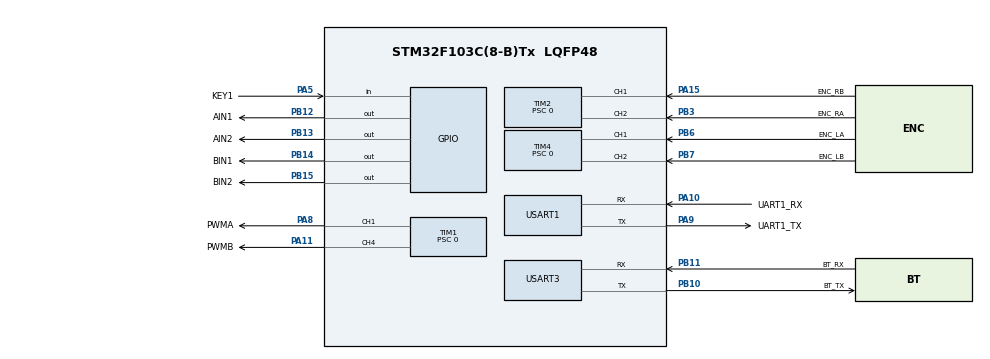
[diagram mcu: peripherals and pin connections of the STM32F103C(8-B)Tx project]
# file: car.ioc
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Mcu.Family=STM32F1
Mcu.Name=STM32F103C(8-B)Tx
Mcu.Package=LQFP48
NVIC.PriorityGroup=NVIC_PRIORITYGROUP_4
PA15.GPIO_Label=ENC_RB
PA15.GPIO_PuPd=GPIO_PULLUP
PA15.Signal=S_TIM2_CH1_ETR
PB3.GPIO_Label=ENC_RA
PB3.GPIO_PuPd=GPIO_PULLUP
PB3.Signal=S_TIM2_CH2
PA10.GPIO_Label=UART1_RX
PA10.GPIO_Mode=GPIO_MODE_AF_PP
PA10.GPIO_PuPd=GPIO_NOPULL
PA10.GPIO_Speed=GPIO_SPEED_FREQ_LOW
PA10.Mode=Asynchronous
PA10.Signal=USART1_RX
PA11.GPIO_Label=PWMB
PA11.GPIO_ModeDefaultPP=GPIO_MODE_AF_PP
PA11.GPIO_PuPd=GPIO_NOPULL
PA11.GPIO_Speed=GPIO_SPEED_FREQ_HIGH
PA11.Signal=S_TIM1_CH4
PA13.Mode=Serial_Wire
PA13.Signal=SYS_JTMS-SWDIO
PA14.Mode=Serial_Wire
PA14.Signal=SYS_JTCK-SWCLK
PA8.GPIO_Label=PWMA
PA8.GPIO_ModeDefaultPP=GPIO_MODE_AF_PP
PA8.GPIO_PuPd=GPIO_NOPULL
PA8.GPIO_Speed=GPIO_SPEED_FREQ_HIGH
PA8.Signal=S_TIM1_CH1
PA9.GPIO_Label=UART1_TX
PA9.GPIO_Mode=GPIO_MODE_AF_PP
PA9.GPIO_PuPd=GPIO_NOPULL
PA9.GPIO_Speed=GPIO_SPEED_FREQ_LOW
PA9.Mode=Asynchronous
PA9.Signal=USART1_TX
PB10.GPIO_Label=BT_TX
PB10.GPIO_Mode=GPIO_MODE_AF_PP
PB10.GPIO_PuPd=GPIO_NOPULL
PB10.GPIO_Speed=GPIO_SPEED_FREQ_LOW
PB10.Mode=Asynchronous
PB10.Signal=USART3_TX
PB11.GPIO_Label=BT_RX
PB11.GPIO_Mode=GPIO_MODE_AF_PP
PB11.GPIO_PuPd=GPIO_NOPULL
PB11.GPIO_Speed=GPIO_SPEED_FREQ_LOW
PB11.Mode=Asynchronous
PB11.Signal=USART3_RX
PB12.GPIO_Label=AIN1
PB12.GPIO_ModeDefaultOutputPP=GPIO_MODE_OUTPUT_PP
PB12.GPIO_PuPd=GPIO_NOPULL
PB12.GPIO_Speed=GPIO_SPEED_FREQ_LOW
PB12.Signal=GPIO_Output
PB13.GPIO_Label=AIN2
PB13.GPIO_ModeDefaultOutputPP=GPIO_MODE_OUTPUT_PP
PB13.GPIO_PuPd=GPIO_NOPULL
PB13.GPIO_Speed=GPIO_SPEED_FREQ_LOW
PB13.Signal=GPIO_Output
PB14.GPIO_Label=BIN1
PB14.GPIO_ModeDefaultOutputPP=GPIO_MODE_OUTPUT_PP
PB14.GPIO_PuPd=GPIO_NOPULL
PB14.GPIO_Speed=GPIO_SPEED_FREQ_LOW
PB14.Signal=GPIO_Output
PB15.GPIO_Label=BIN2
PB15.GPIO_ModeDefaultOutputPP=GPIO_MODE_OUTPUT_PP
PB15.GPIO_PuPd=GPIO_NOPULL
PB15.GPIO_Speed=GPIO_SPEED_FREQ_LOW
PB15.Signal=GPIO_Output
PB6.GPIO_Label=ENC_LA
PB6.GPIO_PuPd=GPIO_PULLUP
PB6.Signal=S_TIM4_CH1
PB7.GPIO_Label=ENC_LB
PB7.GPIO_PuPd=GPIO_PULLUP
PB7.Signal=S_TIM4_CH2
PA5.GPIO_Label=KEY1
PA5.GPIO_PuPd=GPIO_PULLUP
PA5.Signal=GPIO_Input
ProjectManager.HeapSize=0x200
ProjectManager.StackSize=0x400
ProjectManager.TargetToolchain=CMake
RCC.APB1Freq_Value=8000000
RCC.APB2Freq_Value=8000000
SH.S_TIM1_CH1.0=TIM1_CH1,PWM Generation1 CH1
SH.S_TIM1_CH4.0=TIM1_CH4,PWM Generation4 CH4
SH.S_TIM2_CH1_ETR.0=TIM2_CH1,Encoder_Interface
SH.S_TIM2_CH2.0=TIM2_CH2,Encoder_Interface
SH.S_TIM4_CH1.0=TIM4_CH1,Encoder_Interface
SH.S_TIM4_CH2.0=TIM4_CH2,Encoder_Interface
TIM1.Channel-PWM\ Generation1\ CH1=TIM_CHANNEL_1
TIM1.Channel-PWM\ Generation4\ CH4=TIM_CHANNEL_4
TIM1.Period=399
TIM1.Prescaler=0
TIM1.Pulse-PWM\ Generation1\ CH1=0
TIM1.Pulse-PWM\ Generation4\ CH4=0
TIM2.EncoderMode=TIM_ENCODERMODE_TI12
TIM2.IC1Filter=8
TIM2.IC2Filter=8
TIM2.Period=65535
TIM2.Prescaler=0
TIM4.EncoderMode=TIM_ENCODERMODE_TI12
TIM4.IC1Filter=8
TIM4.IC2Filter=8
TIM4.Period=65535
TIM4.Prescaler=0
USART1.VirtualMode=VM_ASYNC
USART3.VirtualMode=VM_ASYNC
VP_TIM1_VS_ClockSourceINT.Mode=Internal
board=custom

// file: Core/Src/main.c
/* USER CODE BEGIN Header */
/**
  ******************************************************************************
  * @file           : main.c
  * @brief          : Main program body
  ******************************************************************************
  * @attention
  *
  * Copyright (c) 2026 STMicroelectronics.
  * All rights reserved.
  *
  * This software is licensed under terms that can be found in the LICENSE file
  * in the root directory of this software component.
  * If no LICENSE file comes with this software, it is provided AS-IS.
  *
  ******************************************************************************
  */
/* USER CODE END Header */
#include "main.h"

/* USER CODE BEGIN Includes */
#include <stdio.h>
#include "motor.h"
#include "encoder_usart.h"
/* USER CODE END Includes */

/* USER CODE BEGIN PD */
/* 按键调速：PA5 输入上拉，按下为低电平，每按一次占空比 +20%，到 100% 后回到 20% */
#define DUTY_STEP_PERCENT   20U
#define DUTY_MIN_PERCENT    20U
#define DUTY_MAX_PERCENT    100U
#define KEY_DEBOUNCE_MS     20U
/* USER CODE END PD */

TIM_HandleTypeDef htim1;
TIM_HandleTypeDef htim2;
TIM_HandleTypeDef htim4;

UART_HandleTypeDef huart1;
UART_HandleTypeDef huart3;

/* USER CODE BEGIN PV */
static uint8_t s_duty_percent = DUTY_MIN_PERCENT;
/* USER CODE END PV */

void SystemClock_Config(void);
static void MX_GPIO_Init(void);
static void MX_TIM1_Init(void);
static void MX_TIM2_Init(void);
static void MX_TIM4_Init(void);
static void MX_USART3_UART_Init(void);
static void MX_USART1_UART_Init(void);

/* USER CODE BEGIN 0 */
/*
 * PA5 按键消抖：返回 1 表示检测到一次新的“按下”（高→低跳变）。
 * 采样粒度由主循环决定（约 1 ms），电平需稳定 KEY_DEBOUNCE_MS 才被承认。
 */
static uint8_t key1_pressed(void)
{
  static uint8_t  s_level = 1U;      /* 消抖后的稳定电平：1 = 松开，0 = 按下 */
  static uint8_t  s_level_last = 1U; /* 上一次采样的原始电平 */
  static uint8_t  s_started = 0U;
  static uint32_t s_change_ms = 0U;

  uint32_t now = HAL_GetTick();
  uint8_t  level = (HAL_GPIO_ReadPin(KEY1_GPIO_Port, KEY1_Pin) == GPIO_PIN_RESET) ? 0U : 1U;

  if (s_started == 0U)
  {
    /* 第一次调用以当前电平为基准，避免上电时按键被按住就多加一档 */
    s_started = 1U;
    s_level = level;
    s_level_last = level;
    s_change_ms = now;
    return 0U;
  }

  if (level != s_level_last)
  {
    s_level_last = level;
    s_change_ms = now;
  }

  if (((uint32_t)(now - s_change_ms) >= KEY_DEBOUNCE_MS) && (level != s_level))
  {
    s_level = level;
    if (s_level == 0U)
    {
      return 1U;
    }
  }

  return 0U;
}

/* 占空比变化时镜像发到 USART1 / USART3，方便上板确认按键真的按到了 */
static void report_duty(uint8_t percent)
{
  char buf[40];
  int  len;

  len = snprintf(buf, sizeof(buf), "KEY: duty -> %u%%\r\n", (unsigned)percent);
  if (len <= 0)
  {
    return;
  }
  if (len >= (int)sizeof(buf))
  {
    len = (int)sizeof(buf) - 1;
  }

  HAL_UART_Transmit(&huart1, (uint8_t *)buf, (uint16_t)len, 100U);
  HAL_UART_Transmit(&huart3, (uint8_t *)buf, (uint16_t)len, 100U);
}
/* USER CODE END 0 */

int main(void)
{

  /* MCU Configuration--------------------------------------------------------*/

  /* Reset of all peripherals, Initializes the Flash interface and the Systick. */
  HAL_Init();

  /* Configure the system clock */
  SystemClock_Config();

  /* Initialize all configured peripherals */
  MX_GPIO_Init();
  MX_TIM1_Init();
  MX_TIM2_Init();
  MX_TIM4_Init();
  MX_USART3_UART_Init();
  MX_USART1_UART_Init();
  /* USER CODE BEGIN 2 */
  Motor *left_motor = Motor_Init(MOTOR_LEFT);
  Motor *right_motor = Motor_Init(MOTOR_RIGHT);

  EncoderUsart_Init(left_motor);
  EncoderUsart_Init(right_motor);

  /* 左右电机一直正转，初始 20%；PA5 每按一次 +20%，到 100% 后回到 20% */
  Motor_SetDirSpeed(left_motor, MOTOR_DIR_FORWARD, DUTY_MIN_PERCENT);
  Motor_SetDirSpeed(right_motor, MOTOR_DIR_FORWARD, DUTY_MIN_PERCENT);
  /* USER CODE END 2 */

  /* Infinite loop */
  while (1)
  {

    /* USER CODE BEGIN 3 */
    if (key1_pressed() != 0U)
    {
      if ((uint16_t)s_duty_percent + DUTY_STEP_PERCENT > DUTY_MAX_PERCENT)
      {
        s_duty_percent = DUTY_MIN_PERCENT;      /* 100% 后再按回到 20% */
      }
      else
      {
        s_duty_percent = (uint8_t)(s_duty_percent + DUTY_STEP_PERCENT);
      }

      Motor_SetSpeed(left_motor, s_duty_percent);
      Motor_SetSpeed(right_motor, s_duty_percent);
      report_duty(s_duty_percent);
    }

    Motor_Update(left_motor);
    Motor_Update(right_motor);
    EncoderUsart_Task();
    HAL_Delay(1U);
  }
  /* USER CODE END 3 */
}

void SystemClock_Config(void)
{
  RCC_OscInitTypeDef RCC_OscInitStruct = {0};
  RCC_ClkInitTypeDef RCC_ClkInitStruct = {0};

  /** Initializes the RCC Oscillators according to the specified parameters
  * in the RCC_OscInitTypeDef structure.
  */
  RCC_OscInitStruct.OscillatorType = RCC_OSCILLATORTYPE_HSI;
  RCC_OscInitStruct.HSIState = RCC_HSI_ON;
  RCC_OscInitStruct.HSICalibrationValue = RCC_HSICALIBRATION_DEFAULT;
  RCC_OscInitStruct.PLL.PLLState = RCC_PLL_NONE;
  if (HAL_RCC_OscConfig(&RCC_OscInitStruct) != HAL_OK)
  {
    Error_Handler();
  }

  /** Initializes the CPU, AHB and APB buses clocks
  */
  RCC_ClkInitStruct.ClockType = RCC_CLOCKTYPE_HCLK|RCC_CLOCKTYPE_SYSCLK
                              |RCC_CLOCKTYPE_PCLK1|RCC_CLOCKTYPE_PCLK2;
  RCC_ClkInitStruct.SYSCLKSource = RCC_SYSCLKSOURCE_HSI;
  RCC_ClkInitStruct.AHBCLKDivider = RCC_SYSCLK_DIV1;
  RCC_ClkInitStruct.APB1CLKDivider = RCC_HCLK_DIV1;
  RCC_ClkInitStruct.APB2CLKDivider = RCC_HCLK_DIV1;

  if (HAL_RCC_ClockConfig(&RCC_ClkInitStruct, FLASH_LATENCY_0) != HAL_OK)
  {
    Error_Handler();
  }
}

static void MX_TIM1_Init(void)
{

  TIM_ClockConfigTypeDef sClockSourceConfig = {0};
  TIM_MasterConfigTypeDef sMasterConfig = {0};
  TIM_OC_InitTypeDef sConfigOC = {0};
  TIM_BreakDeadTimeConfigTypeDef sBreakDeadTimeConfig = {0};

  htim1.Instance = TIM1;
  htim1.Init.Prescaler = 0;
  htim1.Init.CounterMode = TIM_COUNTERMODE_UP;
  htim1.Init.Period = 399;
  htim1.Init.ClockDivision = TIM_CLOCKDIVISION_DIV1;
  htim1.Init.RepetitionCounter = 0;
  htim1.Init.AutoReloadPreload = TIM_AUTORELOAD_PRELOAD_DISABLE;
  if (HAL_TIM_Base_Init(&htim1) != HAL_OK)
  {
    Error_Handler();
  }
  sClockSourceConfig.ClockSource = TIM_CLOCKSOURCE_INTERNAL;
  if (HAL_TIM_ConfigClockSource(&htim1, &sClockSourceConfig) != HAL_OK)
  {
    Error_Handler();
  }
  if (HAL_TIM_PWM_Init(&htim1) != HAL_OK)
  {
    Error_Handler();
  }
  sMasterConfig.MasterOutputTrigger = TIM_TRGO_RESET;
  sMasterConfig.MasterSlaveMode = TIM_MASTERSLAVEMODE_DISABLE;
  if (HAL_TIMEx_MasterConfigSynchronization(&htim1, &sMasterConfig) != HAL_OK)
  {
    Error_Handler();
  }
  sConfigOC.OCMode = TIM_OCMODE_PWM1;
  sConfigOC.Pulse = 0;
  sConfigOC.OCPolarity = TIM_OCPOLARITY_HIGH;
  sConfigOC.OCNPolarity = TIM_OCNPOLARITY_HIGH;
  sConfigOC.OCFastMode = TIM_OCFAST_DISABLE;
  sConfigOC.OCIdleState = TIM_OCIDLESTATE_RESET;
  sConfigOC.OCNIdleState = TIM_OCNIDLESTATE_RESET;
  if (HAL_TIM_PWM_ConfigChannel(&htim1, &sConfigOC, TIM_CHANNEL_1) != HAL_OK)
  {
    Error_Handler();
  }
  if (HAL_TIM_PWM_ConfigChannel(&htim1, &sConfigOC, TIM_CHANNEL_4) != HAL_OK)
  {
    Error_Handler();
  }
  sBreakDeadTimeConfig.OffStateRunMode = TIM_OSSR_DISABLE;
  sBreakDeadTimeConfig.OffStateIDLEMode = TIM_OSSI_DISABLE;
  sBreakDeadTimeConfig.LockLevel = TIM_LOCKLEVEL_OFF;
  sBreakDeadTimeConfig.DeadTime = 0;
  sBreakDeadTimeConfig.BreakState = TIM_BREAK_DISABLE;
  sBreakDeadTimeConfig.BreakPolarity = TIM_BREAKPOLARITY_HIGH;
  sBreakDeadTimeConfig.AutomaticOutput = TIM_AUTOMATICOUTPUT_DISABLE;
  if (HAL_TIMEx_ConfigBreakDeadTime(&htim1, &sBreakDeadTimeConfig) != HAL_OK)
  {
    Error_Handler();
  }
  HAL_TIM_MspPostInit(&htim1);

}

static void MX_TIM2_Init(void)
{

  TIM_Encoder_InitTypeDef sConfig = {0};
  TIM_MasterConfigTypeDef sMasterConfig = {0};

  htim2.Instance = TIM2;
  htim2.Init.Prescaler = 0;
  htim2.Init.CounterMode = TIM_COUNTERMODE_UP;
  htim2.Init.Period = 65535;
  htim2.Init.ClockDivision = TIM_CLOCKDIVISION_DIV1;
  htim2.Init.AutoReloadPreload = TIM_AUTORELOAD_PRELOAD_DISABLE;
  sConfig.EncoderMode = TIM_ENCODERMODE_TI12;
  sConfig.IC1Polarity = TIM_ICPOLARITY_RISING;
  sConfig.IC1Selection = TIM_ICSELECTION_DIRECTTI;
  sConfig.IC1Prescaler = TIM_ICPSC_DIV1;
  sConfig.IC1Filter = 8;
  sConfig.IC2Polarity = TIM_ICPOLARITY_RISING;
  sConfig.IC2Selection = TIM_ICSELECTION_DIRECTTI;
  sConfig.IC2Prescaler = TIM_ICPSC_DIV1;
  sConfig.IC2Filter = 8;
  if (HAL_TIM_Encoder_Init(&htim2, &sConfig) != HAL_OK)
  {
    Error_Handler();
  }
  sMasterConfig.MasterOutputTrigger = TIM_TRGO_RESET;
  sMasterConfig.MasterSlaveMode = TIM_MASTERSLAVEMODE_DISABLE;
  if (HAL_TIMEx_MasterConfigSynchronization(&htim2, &sMasterConfig) != HAL_OK)
  {
    Error_Handler();
  }

}

static void MX_TIM4_Init(void)
{

  TIM_Encoder_InitTypeDef sConfig = {0};
  TIM_MasterConfigTypeDef sMasterConfig = {0};

  htim4.Instance = TIM4;
  htim4.Init.Prescaler = 0;
  htim4.Init.CounterMode = TIM_COUNTERMODE_UP;
  htim4.Init.Period = 65535;
  htim4.Init.ClockDivision = TIM_CLOCKDIVISION_DIV1;
  htim4.Init.AutoReloadPreload = TIM_AUTORELOAD_PRELOAD_DISABLE;
  sConfig.EncoderMode = TIM_ENCODERMODE_TI12;
  sConfig.IC1Polarity = TIM_ICPOLARITY_RISING;
  sConfig.IC1Selection = TIM_ICSELECTION_DIRECTTI;
  sConfig.IC1Prescaler = TIM_ICPSC_DIV1;
  sConfig.IC1Filter = 8;
  sConfig.IC2Polarity = TIM_ICPOLARITY_RISING;
  sConfig.IC2Selection = TIM_ICSELECTION_DIRECTTI;
  sConfig.IC2Prescaler = TIM_ICPSC_DIV1;
  sConfig.IC2Filter = 8;
  if (HAL_TIM_Encoder_Init(&htim4, &sConfig) != HAL_OK)
  {
    Error_Handler();
  }
  sMasterConfig.MasterOutputTrigger = TIM_TRGO_RESET;
  sMasterConfig.MasterSlaveMode = TIM_MASTERSLAVEMODE_DISABLE;
  if (HAL_TIMEx_MasterConfigSynchronization(&htim4, &sMasterConfig) != HAL_OK)
  {
    Error_Handler();
  }

}

static void MX_USART1_UART_Init(void)
{

  huart1.Instance = USART1;
  huart1.Init.BaudRate = 115200;
  huart1.Init.WordLength = UART_WORDLENGTH_8B;
  huart1.Init.StopBits = UART_STOPBITS_1;
  huart1.Init.Parity = UART_PARITY_NONE;
  huart1.Init.Mode = UART_MODE_TX_RX;
  huart1.Init.HwFlowCtl = UART_HWCONTROL_NONE;
  huart1.Init.OverSampling = UART_OVERSAMPLING_16;
  if (HAL_UART_Init(&huart1) != HAL_OK)
  {
    Error_Handler();
  }

}

static void MX_USART3_UART_Init(void)
{

  huart3.Instance = USART3;
  huart3.Init.BaudRate = 115200;
  huart3.Init.WordLength = UART_WORDLENGTH_8B;
  huart3.Init.StopBits = UART_STOPBITS_1;
  huart3.Init.Parity = UART_PARITY_NONE;
  huart3.Init.Mode = UART_MODE_TX_RX;
  huart3.Init.HwFlowCtl = UART_HWCONTROL_NONE;
  huart3.Init.OverSampling = UART_OVERSAMPLING_16;
  if (HAL_UART_Init(&huart3) != HAL_OK)
  {
    Error_Handler();
  }

}

static void MX_GPIO_Init(void)
{
  GPIO_InitTypeDef GPIO_InitStruct = {0};

  /* GPIO Ports Clock Enable */
  __HAL_RCC_GPIOA_CLK_ENABLE();
  __HAL_RCC_GPIOB_CLK_ENABLE();

  /*Configure GPIO pin Output Level */
  HAL_GPIO_WritePin(GPIOB, BIN1_Pin|BIN2_Pin|AIN1_Pin|AIN2_Pin, GPIO_PIN_RESET);

  /*Configure GPIO pins : BIN1_Pin BIN2_Pin AIN1_Pin AIN2_Pin */
  GPIO_InitStruct.Pin = BIN1_Pin|BIN2_Pin|AIN1_Pin|AIN2_Pin;
  GPIO_InitStruct.Mode = GPIO_MODE_OUTPUT_PP;
  GPIO_InitStruct.Pull = GPIO_NOPULL;
  GPIO_InitStruct.Speed = GPIO_SPEED_FREQ_LOW;
  HAL_GPIO_Init(GPIOB, &GPIO_InitStruct);

  /*Configure GPIO pin : KEY1_Pin */
  GPIO_InitStruct.Pin = KEY1_Pin;
  GPIO_InitStruct.Mode = GPIO_MODE_INPUT;
  GPIO_InitStruct.Pull = GPIO_PULLUP;
  HAL_GPIO_Init(KEY1_GPIO_Port, &GPIO_InitStruct);

}

void Error_Handler(void)
{
  __disable_irq();
  while (1)
  {
  }
}
